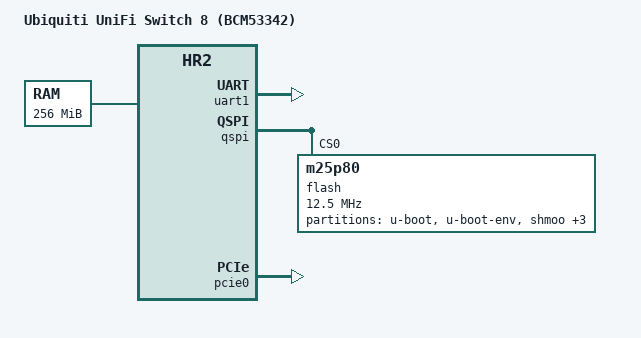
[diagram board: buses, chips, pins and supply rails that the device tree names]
FASTVC-BENCH-CORPUS:linux-main-100k-v1-e0bd41dc-8e12-4f1b-978d-a3645ae59da0
/*
 * DTS for Unifi Switch 8 port
 *
 * Copyright (C) 2017 Florian Fainelli <f.fainelli@gmail.com>
 *
 * Licensed under the GNU/GPL. See COPYING for details.
 */

/dts-v1/;

#include "bcm-hr2.dtsi"

/ {
	compatible = "ubnt,unifi-switch8", "brcm,bcm53342", "brcm,hr2";
	model = "Ubiquiti UniFi Switch 8 (BCM53342)";

	/* Hurricane 2 designs use the second UART */
	chosen {
		bootargs = "console=ttyS1,115200 earlyprintk";
	};

	memory@0 {
		device_type = "memory";
		reg = <0x00000000 0x08000000>,
		      <0x68000000 0x08000000>;
	};
};

&uart1 {
	status = "okay";
};

&qspi {
	status = "okay";
	bspi-sel = <0>;

	flash: m25p80@0 {
		compatible = "m25p80";
		reg = <0>;
		#address-cells = <1>;
		#size-cells = <1>;
		spi-max-frequency = <12500000>;
		spi-cpol;
		spi-cpha;

		partition@0 {
			label = "u-boot";
			reg = <0x0 0xc0000>;
/* bench 6297.0.0 07892da2d42b */
/* bench 6297.0.1 1d6bad4f7ed5 */
/* bench 6297.0.2 392e96b4ae9f */
/* bench 6297.0.3 525c066479df */
/* bench 6297.0.4 9f1cc3d1e184 */
/* bench 6297.0.5 dfccfe1d1407 */
/* bench 7738.0.0 7b78c0b43e2b */
/* bench 7738.0.1 7d87ba0bc69a */
/* bench 6297.0.6 93a96d54aa1f */
		partition@c0000 {
			label = "u-boot-env";
			reg = <0xc0000 0x10000>;
		};

		partition@d0000 {
			label = "shmoo";
			reg = <0xd0000 0x10000>;
		};

/* bench 8037.1.0 92b839b68007 */
/* bench 8037.1.1 2cdeab2afa95 */
/* bench 8037.1.2 260817f5e1fb */
		};

		partition@fe0000 {
			label = "kernel1";
			reg = <0xfe0000 0xf10000>;
		};

		partition@1ef0000 {
			label = "cfg";
			reg = <0x1ef0000 0x100000>;
		};

/* bench 25680.0.0 3f587d8b59a5 */
/* bench 25680.0.1 1928042d1070 */
/* bench 25680.0.2 641e814aa0f4 */
		partition@1ff0000 {
			label = "EEPROM";
			reg = <0x1ff0000 0x10000>;
		};
	};
};

&pcie0 {
	/* Attaches to the internal switch */
	status = "okay";
};
